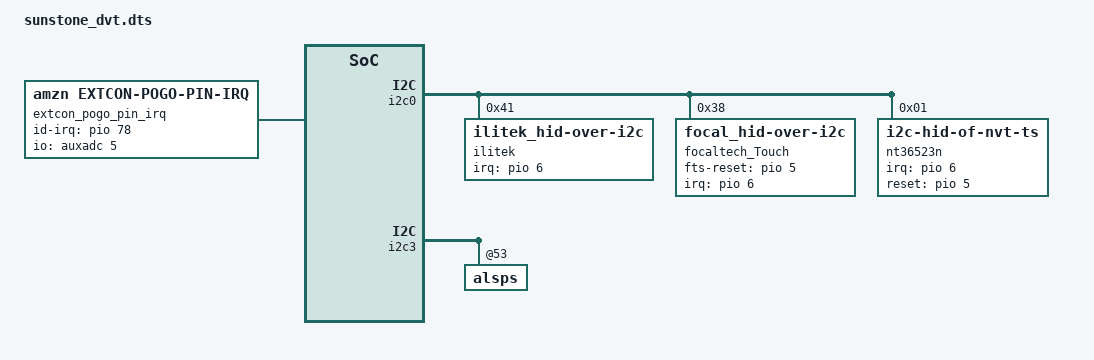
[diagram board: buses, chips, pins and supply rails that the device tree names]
/*
 * Copyright (C) 2022 Amazon.com
 *
 * This program is free software: you can redistribute it and/or modify
 * it under the terms of the GNU General Public License version 2 as
 * published by the Free Software Foundation.
 *
 * This program is distributed in the hope that it will be useful,
 * but WITHOUT ANY WARRANTY; without even the implied warranty of
 * MERCHANTABILITY or FITNESS FOR A PARTICULAR PURPOSE. See the
 * GNU General Public License for more details.
 *
 */

/dts-v1/;
/plugin/;

#define SUNSTONE_KEYBOARD_HALL_SENSOR
#include "sunstone.dtsi"

&chosen {
	version = "dvt";
};

&i2c0 {
	ilitek@41 {
		compatible = "ilitek_hid-over-i2c";
		reg = <0x41>;
		irq-gpios = <&pio 6 GPIO_ACTIVE_HIGH>;
		hid-descr-addr = <0>;
	};

	focaltech_Touch@38 {
		compatible = "focal_hid-over-i2c";
		reg = <0x38>;
		fts-reset-gpios = <&pio 5 GPIO_ACTIVE_HIGH>;
		irq-gpios = <&pio 6 GPIO_ACTIVE_HIGH>;
		hid-descr-addr = <0>;
	};

	nt36523n@1 {
		compatible = "i2c-hid-of-nvt-ts";
		reg = <0x1>;
		hid-descr-addr = <0>;
		irq-gpios = <&pio 6 GPIO_ACTIVE_HIGH>;
		post-power-on-delay-ms = <50>;
		novatek,reset-gpio = <&pio 5 GPIO_ACTIVE_HIGH>;
		novatek,wakeup-id = <10>;
		novatek,pen-support;
	};
};

&i2c3 {
	alsps@53 {
		cal_factoy = <378 446 475 512>;
	};
};

&ssusb1 {
	extcon = <&extcon_pogo_pin_irq>;
};

&odm {
	extcon_pogo_pin_irq: extcon_pogo_pin_irq {
		compatible = "amzn,extcon-pogo-pin-irq";
		extcon = <&hall_sensors>;
		work-interval-irq = <30000>;
		moisture-threshold-irq = <0 243>;
		keyboard-threshold-irq = <244 414>;
		nothing-threshold-irq = <1200 1500>;
		id-irq-gpio = <&pio 78 GPIO_ACTIVE_HIGH>;
		usb = <&ssusb1>;
		io-channels = <&auxadc 5>;
		io-channel-names = "pogo_extcon_adc_channel";
		pinctrl-names = "detect_disable", "detect_enable";
		pinctrl-0 = <&pogo_extcon_detect_disable>;
		pinctrl-1 = <&pogo_extcon_detect_enable>;
	};
};
